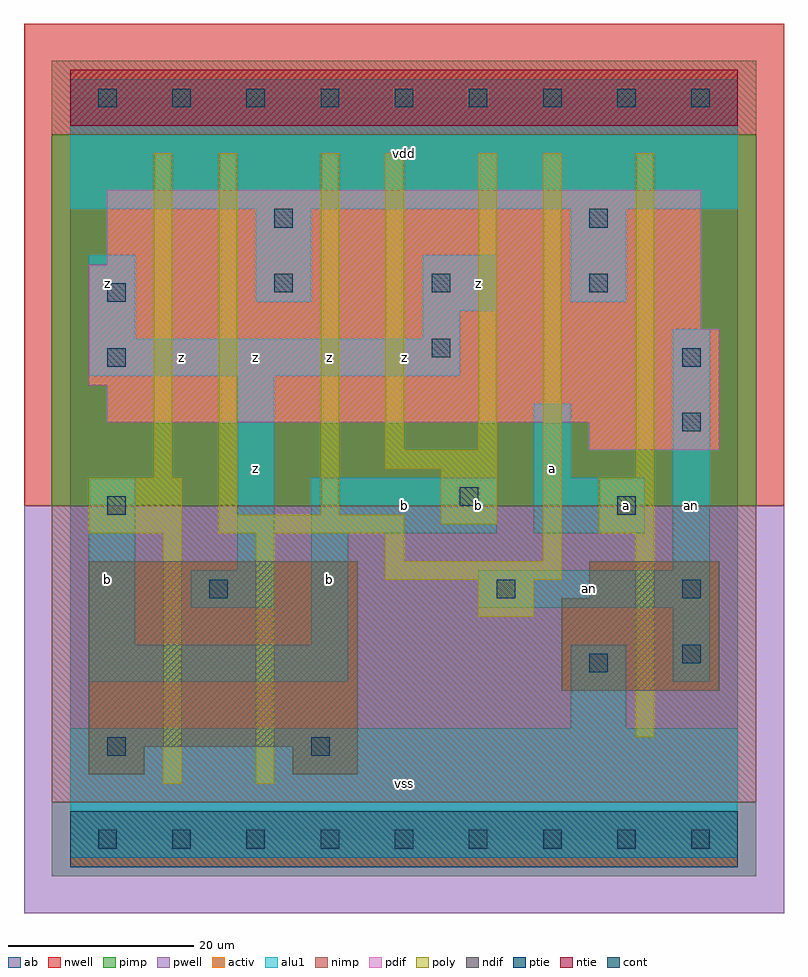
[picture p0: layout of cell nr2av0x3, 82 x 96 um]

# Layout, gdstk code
import gdstk
lib = gdstk.Library(unit=1e-6, precision=1e-09)
def R(c, l, rs):  # rectangles x0, y0, x1, y1
    for r in rs: c.add(gdstk.rectangle(r[:2], r[2:], *l))
def A(c, l, x, y, w, h, nx, ny, dx, dy):  # array of equal rectangles
    R(c, l, [(x+i*dx, y+j*dy, x+i*dx+w, y+j*dy+h) for i in range(nx) for j in range(ny)])
ndif = (3, 0)
pdif = (4, 0)
ntie = (5, 0)
ptie = (6, 0)
cont = (25, 0)
pwell = (41, 0)
nwell = (42, 0)
activ = (43, 0)
pimp = (44, 0)
nimp = (45, 0)
poly = (46, 0)
alu1 = (49, 0)
ab = (63, 0)

nr2av0x3 = lib.new_cell('nr2av0x3')
R(nr2av0x3, ndif, [(2,7,8,10), (24,7,31,10), (2,10,31,30), (53,16,70,26), (56,26,70,30)])
R(nr2av0x3, pdif, [(56,42,70,45), (4,45,70,49), (2,49,70,55), (2,55,68,62), (4,62,68,70)])
R(nr2av0x3, ntie, [(0,77,72,83)])
R(nr2av0x3, ptie, [(0,-3,72,3)])
A(nr2av0x3, cont, 3, -1, 2, 2, 9, 2, 8, 80)
A(nr2av0x3, cont, 22, 59, 2, 2, 3, 1, 17, 0)
R(nr2av0x3, cont, [(4,9,6,11), (26,9,28,11), (56,18,58,20), (66,19,68,21), (15,26,17,28), (46,26,48,28), (66,26,68,28), (4,35,6,37), (59,35,61,37), (42,36,44,38), (66,44,68,46), (4,51,6,53), (66,51,68,53), (39,52,41,54), (4,58,6,60), (22,66,24,68), (56,66,58,68)])
R(nr2av0x3, pwell, [(-5,-8,77,36)])
R(nr2av0x3, nwell, [(-5,36,77,88)])
R(nr2av0x3, activ, [(0,-3,72,3), (2,7,8,10), (24,7,31,10), (2,10,31,30), (53,16,70,26), (56,26,70,30), (56,42,70,45), (4,45,70,49), (2,49,70,55), (2,55,68,62), (4,62,68,70), (0,77,72,83)])
R(nr2av0x3, pimp, [(-2,-4,74,4), (-2,36,74,76)])
R(nr2av0x3, nimp, [(-2,4,74,36), (-2,76,74,84)])
R(nr2av0x3, poly, [(10,6,12,33), (20,6,22,33), (61,11,63,33), (44,24,50,28), (34,28,53,30), (34,30,36,33), (51,30,53,74), (2,33,12,39), (16,33,36,35), (57,33,63,39), (40,34,46,40), (16,35,18,74), (27,35,29,74), (9,39,11,74), (61,39,63,74), (34,40,46,42), (34,42,36,74), (44,42,46,74)])
R(nr2av0x3, alu1, [(0,-2,72,12), (54,12,60,21), (2,17,30,21), (65,17,69,25), (2,21,7,39), (26,21,30,33), (13,25,22,29), (44,25,69,29), (18,29,22,50), (65,29,69,55), (26,33,46,39), (50,33,62,39), (50,39,54,47), (2,50,42,54), (2,54,7,63), (38,54,42,57), (38,57,46,63), (20,58,26,68), (54,58,60,68), (0,68,72,82)])
R(nr2av0x3, ab, [(0,0,72,80)])
nr2av0x3.add(gdstk.Label('an', (56,27), layer=49, texttype=0))
nr2av0x3.add(gdstk.Label('an', (67,36), layer=49, texttype=0))
nr2av0x3.add(gdstk.Label('b', (4,28), layer=49, texttype=0))
nr2av0x3.add(gdstk.Label('z', (12,52), layer=49, texttype=0))
nr2av0x3.add(gdstk.Label('z', (4,60), layer=49, texttype=0))
nr2av0x3.add(gdstk.Label('b', (28,28), layer=49, texttype=0))
nr2av0x3.add(gdstk.Label('z', (20,40), layer=49, texttype=0))
nr2av0x3.add(gdstk.Label('z', (20,52), layer=49, texttype=0))
nr2av0x3.add(gdstk.Label('z', (28,52), layer=49, texttype=0))
nr2av0x3.add(gdstk.Label('vss', (36,6), layer=49, texttype=0))
nr2av0x3.add(gdstk.Label('b', (36,36), layer=49, texttype=0))
nr2av0x3.add(gdstk.Label('b', (44,36), layer=49, texttype=0))
nr2av0x3.add(gdstk.Label('a', (52,40), layer=49, texttype=0))
nr2av0x3.add(gdstk.Label('z', (36,52), layer=49, texttype=0))
nr2av0x3.add(gdstk.Label('z', (44,60), layer=49, texttype=0))
nr2av0x3.add(gdstk.Label('vdd', (36,74), layer=49, texttype=0))
nr2av0x3.add(gdstk.Label('a', (60,36), layer=49, texttype=0))

lib.write_gds('nr2av0x3.gds')
